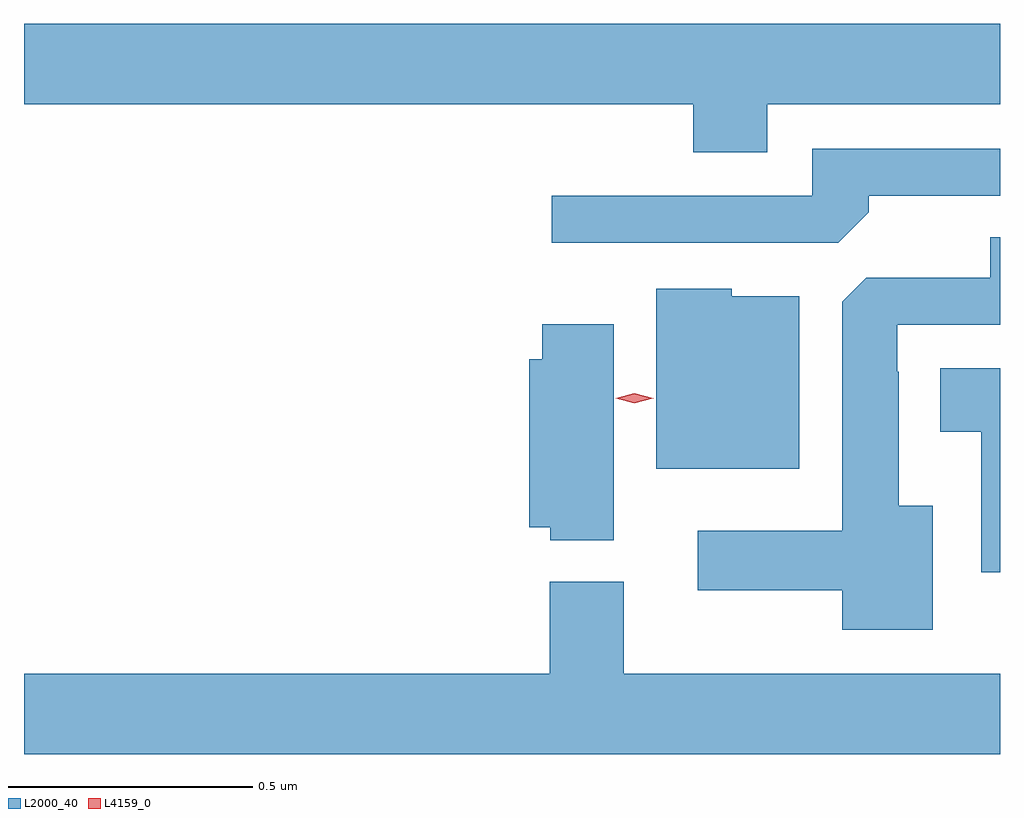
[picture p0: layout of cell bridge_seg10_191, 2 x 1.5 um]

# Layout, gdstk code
import gdstk
lib = gdstk.Library(unit=1e-6, precision=1e-09)
def P(c, l, *ps):  # polygons
    for p in ps: c.add(gdstk.Polygon(p, *l))
L2000_40 = (2000, 40)
L4159_0 = (4159, 0)

bridge_seg10_191 = lib.new_cell('bridge_seg10_191')
P(bridge_seg10_191, L2000_40, [(155.155,1253.696),(155.632,1253.696),(155.632,1253.86),(153.632,1253.86),(153.632,1253.696),(155.003,1253.696),(155.003,1253.597),(155.155,1253.597)],
  [(155.363,1253.474),(155.363,1253.508),(155.632,1253.508),(155.632,1253.604),(155.247,1253.604),(155.247,1253.508),(154.713,1253.508),(154.713,1253.412),(155.301,1253.412)],
  [(155.494,1252.873),(155.425,1252.873),(155.425,1253.147),(155.421,1253.147),(155.421,1253.244),(155.632,1253.244),(155.632,1253.423),(155.612,1253.423),(155.612,1253.34),(155.358,1253.34),(155.309,1253.291),(155.309,1252.822),(155.013,1252.822),(155.013,1252.7),(155.309,1252.7),(155.309,1252.619),(155.494,1252.619)],
  [(155.221,1253.302),(155.082,1253.302),(155.082,1253.317),(154.928,1253.317),(154.928,1252.949),(155.221,1252.949)],
  [(154.84,1253.245),(154.694,1253.245),(154.694,1253.173),(154.667,1253.173),(154.667,1252.829),(154.71,1252.829),(154.71,1252.802),(154.84,1252.802)],
  [(155.632,1253.155),(155.51,1253.155),(155.51,1253.024),(155.594,1253.024),(155.594,1252.737),(155.632,1252.737)],
  [(155.632,1252.528),(154.861,1252.528),(154.861,1252.717),(154.709,1252.717),(154.709,1252.528),(153.632,1252.528),(153.632,1252.364),(155.632,1252.364)])
P(bridge_seg10_191, L4159_0, [(154.883,1253.083),(154.845,1253.093),(154.845,1253.093),(154.845,1253.093),(154.883,1253.103),(154.921,1253.093),(154.922,1253.093),(154.921,1253.093)])

lib.write_gds('bridge_seg10_191.gds')
